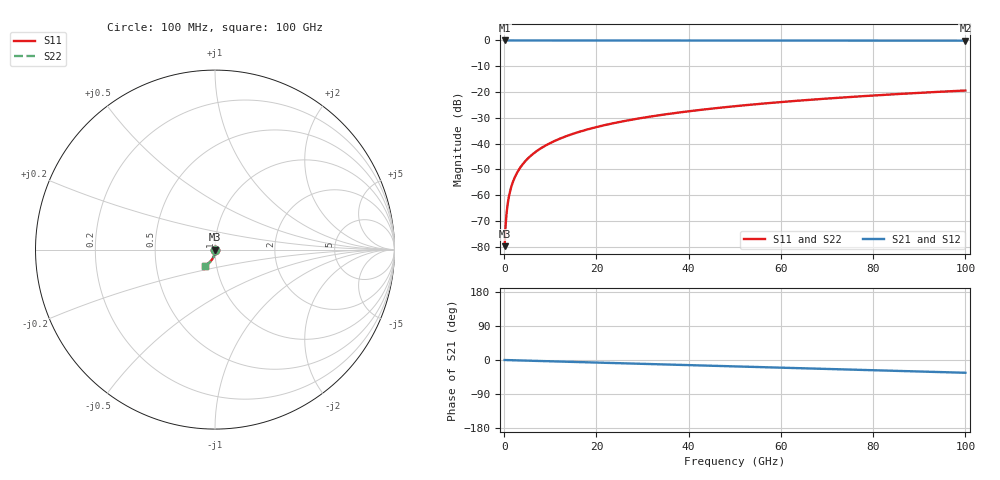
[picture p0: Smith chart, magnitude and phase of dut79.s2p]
! Touchstone file exported from HFSS 2026.1.0
!  File:  C:/ffzhzh/LocalFiles/Ansys_Project_Files/temp_train_TSV_79_1783505412_55944.aedt
!  Generated:  06:11:21 PM Jul  8, 2026
!  Design:  TSV
!  Project:  temp_train_TSV_79_1783505412_55944
! Variables:
!  h_bsmrdl = 2um
!  h_ox = 20um
!  h_rdl = 5um
!  h_sub = 65.62um
!  h_tmrdl = 5um
!  h_tsv = 65.62um
!  h_via = 3um
!  l_bsmrdl = 300um
!  l_sub = 426.16um
!  l_tmrdl = 200um
!  m_sub = 200um
!  pitch = 44.1um
!  r_tsv = 13.08um
!  s_tmrdl = 10um
!  w_bsmrdl = 18um
!  w_sub = 500um
!  w_tmrdl = 12um
!  x_tsv_center1 = 206um
!  x_tsv_center2 = 524um
!  x_tsv_center3 = 736um
!  x_tsv_center4 = 1054um
!  x_tsv_center5 = 1266um
!  x_tsv_center6 = 1584um
# GHz S MA R 50.000000
! Terminal data exported
! Port[1] = TSV1_1_T1
! Port[2] = TSV1_1_T2
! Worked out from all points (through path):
!   1000 points, 100 MHz to 100 GHz, reference 50 ohm
!   highest |S21| = 0.00 dB at 100 MHz (marker M1); lowest = -0.1 dB at 100 GHz (marker M2)
!   group delay of S21, straight-line fit = 935 fs
!   lowest |S11| = -79.8 dB at 100 MHz (marker M3), VSWR 1.00, Z = 50 - j0.00682 ohm
!   |S11| at or under -10 dB: start of sweep to end of sweep
!   |S22| runs from -79.8 to -19.4 dB; largest |S21 - S12| = 5.3e-15
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0.1  0.0001028 -41.6  0.9999 -0.0  0.9999 -0.0  0.0001028 -41.6
! Gamma 0 0 0 0
! Port Impedance 50 0 50 0
0.4  0.00033 -67.6  0.9999 -0.1  0.9999 -0.1  0.00033 -67.6
0.7  0.000612 -73.5  0.9998 -0.2  0.9998 -0.2  0.000612 -73.5
0.8  0.0007097 -74.8  0.9998 -0.3  0.9998 -0.3  0.0007097 -74.8
1.1  0.001006 -77.6  0.9998 -0.4  0.9998 -0.4  0.001006 -77.6
1.4  0.001305 -79.5  0.9998 -0.5  0.9998 -0.5  0.001305 -79.5
1.8  0.001706 -81.2  0.9997 -0.6  0.9997 -0.6  0.001706 -81.2
2.4  0.002313 -82.8  0.9997 -0.8  0.9997 -0.8  0.002313 -82.8
3  0.002927 -83.9  0.9996 -1.0  0.9996 -1.0  0.002927 -83.9
3.8  0.003754 -85.0  0.9996 -1.3  0.9996 -1.3  0.003754 -85.0
4.8  0.004796 -86.1  0.9995 -1.6  0.9995 -1.6  0.004796 -86.1
5.9  0.005947 -87.1  0.9995 -2.0  0.9995 -2.0  0.005947 -87.1
8.7  0.008893 -88.9  0.9993 -2.9  0.9993 -2.9  0.008893 -88.9
12.3  0.0127 -90.8  0.9992 -4.2  0.9992 -4.2  0.0127 -90.7
16.8  0.01749 -92.8  0.999 -5.7  0.999 -5.7  0.01749 -92.8
24.1  0.0253 -95.8  0.9986 -8.1  0.9986 -8.1  0.0253 -95.7
33.4  0.03526 -99.3  0.9981 -11.3  0.9981 -11.3  0.03526 -99.3
41.2  0.04363 -102.1  0.9976 -13.9  0.9976 -13.9  0.04363 -102.1
50.1  0.05321 -105.3  0.997 -16.9  0.997 -16.9  0.05321 -105.2
66.7  0.07116 -111.1  0.9956 -22.5  0.9956 -22.5  0.07116 -111.0
83.4  0.08926 -116.9  0.9939 -28.1  0.9939 -28.1  0.08926 -116.9
100  0.1072 -122.8  0.9918 -33.7  0.9918 -33.7  0.1072 -122.7
